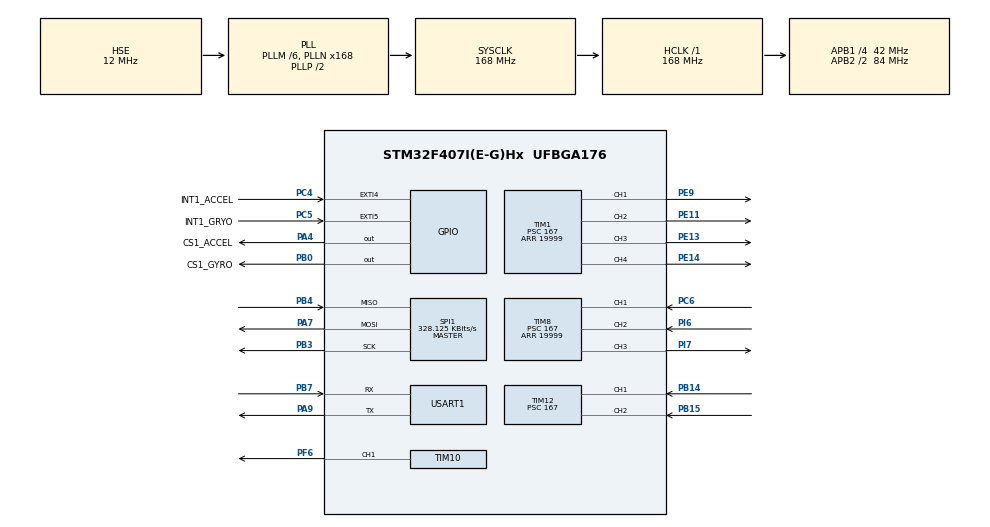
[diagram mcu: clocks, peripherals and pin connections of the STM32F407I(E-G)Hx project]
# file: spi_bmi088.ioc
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Dma.Request0=SPI1_RX
Dma.Request1=SPI1_TX
Dma.SPI1_RX.0.Direction=DMA_PERIPH_TO_MEMORY
Dma.SPI1_RX.0.FIFOMode=DMA_FIFOMODE_DISABLE
Dma.SPI1_RX.0.Instance=DMA2_Stream2
Dma.SPI1_RX.0.MemDataAlignment=DMA_MDATAALIGN_BYTE
Dma.SPI1_RX.0.MemInc=DMA_MINC_ENABLE
Dma.SPI1_RX.0.Mode=DMA_NORMAL
Dma.SPI1_RX.0.PeriphDataAlignment=DMA_PDATAALIGN_BYTE
Dma.SPI1_RX.0.PeriphInc=DMA_PINC_DISABLE
Dma.SPI1_RX.0.Priority=DMA_PRIORITY_VERY_HIGH
Dma.SPI1_TX.1.Direction=DMA_MEMORY_TO_PERIPH
Dma.SPI1_TX.1.FIFOMode=DMA_FIFOMODE_DISABLE
Dma.SPI1_TX.1.Instance=DMA2_Stream3
Dma.SPI1_TX.1.MemDataAlignment=DMA_MDATAALIGN_BYTE
Dma.SPI1_TX.1.MemInc=DMA_MINC_ENABLE
Dma.SPI1_TX.1.Mode=DMA_NORMAL
Dma.SPI1_TX.1.PeriphDataAlignment=DMA_PDATAALIGN_BYTE
Dma.SPI1_TX.1.PeriphInc=DMA_PINC_DISABLE
Dma.SPI1_TX.1.Priority=DMA_PRIORITY_HIGH
Mcu.Family=STM32F4
Mcu.Name=STM32F407I(E-G)Hx
Mcu.Package=UFBGA176
NVIC.DMA2_Stream2_IRQn=true\:5\:0\:true\:false\:false\:false\:true
NVIC.DMA2_Stream3_IRQn=true\:0\:0\:false\:false\:false\:false\:true
NVIC.EXTI4_IRQn=true\:0\:0\:false\:false\:true\:true\:true
NVIC.EXTI9_5_IRQn=true\:0\:0\:false\:false\:true\:true\:true
NVIC.PriorityGroup=NVIC_PRIORITYGROUP_4
NVIC.TIM1_BRK_TIM9_IRQn=true\:0\:0\:false\:false\:true\:true\:true
NVIC.TIM1_CC_IRQn=true\:0\:0\:false\:false\:true\:true\:true
NVIC.TIM1_TRG_COM_TIM11_IRQn=true\:0\:0\:false\:false\:true\:true\:true
NVIC.TIM1_UP_TIM10_IRQn=true\:0\:0\:false\:false\:true\:true\:true
NVIC.TIM8_BRK_TIM12_IRQn=true\:0\:0\:false\:false\:true\:true\:true
NVIC.TIM8_CC_IRQn=true\:0\:0\:false\:false\:true\:true\:true
NVIC.TIM8_TRG_COM_TIM14_IRQn=true\:0\:0\:false\:false\:true\:true\:true
NVIC.TIM8_UP_TIM13_IRQn=true\:0\:0\:false\:false\:true\:true\:true
NVIC.USART1_IRQn=true\:0\:0\:false\:false\:true\:true\:true
PA13.Mode=Serial_Wire
PA13.Signal=SYS_JTMS-SWDIO
PA14.Mode=Serial_Wire
PA14.Signal=SYS_JTCK-SWCLK
PA4.GPIO_Label=CS1_ACCEL
PA4.GPIO_PuPd=GPIO_PULLUP
PA4.GPIO_Speed=GPIO_SPEED_FREQ_HIGH
PA4.PinState=GPIO_PIN_SET
PA4.Signal=GPIO_Output
PA7.Mode=Full_Duplex_Master
PA7.Signal=SPI1_MOSI
PA9.Mode=Asynchronous
PA9.Signal=USART1_TX
PB0.GPIO_Label=CS1_GYRO
PB0.GPIO_PuPd=GPIO_PULLUP
PB0.GPIO_Speed=GPIO_SPEED_FREQ_HIGH
PB0.PinState=GPIO_PIN_SET
PB0.Signal=GPIO_Output
PB14.GPIO_PuPd=GPIO_PULLDOWN
PB14.Signal=S_TIM12_CH1
PB15.GPIO_PuPd=GPIO_PULLDOWN
PB15.Signal=S_TIM12_CH2
PB3.Mode=Full_Duplex_Master
PB3.Signal=SPI1_SCK
PB4.Mode=Full_Duplex_Master
PB4.Signal=SPI1_MISO
PB7.Mode=Asynchronous
PB7.Signal=USART1_RX
PC4.GPIO_Label=INT1_ACCEL
PC4.GPIO_ModeDefaultEXTI=GPIO_MODE_IT_FALLING
PC4.GPIO_PuPd=GPIO_PULLUP
PC4.Signal=GPXTI4
PC5.GPIO_Label=INT1_GRYO
PC5.GPIO_ModeDefaultEXTI=GPIO_MODE_IT_FALLING
PC5.GPIO_PuPd=GPIO_PULLUP
PC5.Signal=GPXTI5
PC6.GPIO_PuPd=GPIO_PULLDOWN
PC6.Signal=S_TIM8_CH1
PE11.Signal=S_TIM1_CH2
PE13.Signal=S_TIM1_CH3
PE14.Signal=S_TIM1_CH4
PE9.Signal=S_TIM1_CH1
PF6.GPIO_PuPd=GPIO_PULLUP
PF6.GPIO_Speed=GPIO_SPEED_FREQ_HIGH
PF6.Signal=S_TIM10_CH1
PH0-OSC_IN.Mode=HSE-External-Oscillator
PH0-OSC_IN.Signal=RCC_OSC_IN
PH1-OSC_OUT.Mode=HSE-External-Oscillator
PH1-OSC_OUT.Signal=RCC_OSC_OUT
PI6.GPIO_PuPd=GPIO_PULLDOWN
PI6.Signal=S_TIM8_CH2
PI7.GPIO_PuPd=GPIO_PULLDOWN
PI7.Signal=S_TIM8_CH3
ProjectManager.HeapSize=0x2000
ProjectManager.StackSize=0x2000
ProjectManager.TargetToolchain=MDK-ARM V5
RCC.48MHZClocksFreq_Value=48000000
RCC.AHBFreq_Value=168000000
RCC.APB1CLKDivider=RCC_HCLK_DIV4
RCC.APB1Freq_Value=42000000
RCC.APB1TimFreq_Value=84000000
RCC.APB2CLKDivider=RCC_HCLK_DIV2
RCC.APB2Freq_Value=84000000
RCC.APB2TimFreq_Value=168000000
RCC.CortexFreq_Value=168000000
RCC.HCLKFreq_Value=168000000
RCC.HSE_VALUE=12000000
RCC.HSI_VALUE=16000000
RCC.LSE_VALUE=32768
RCC.PLLM=6
RCC.PLLN=168
RCC.PLLQ=7
RCC.PLLSourceVirtual=RCC_PLLSOURCE_HSE
RCC.RCC_RTC_Clock_SourceVirtual=RCC_RTCCLKSOURCE_HSE_DIV30
RCC.RCC_RTC_Clock_Source_FROM_HSE=RCC_RTCCLKSOURCE_HSE_DIV30
RCC.SYSCLKFreq_VALUE=168000000
RCC.SYSCLKSource=RCC_SYSCLKSOURCE_PLLCLK
RCC.VCOOutputFreq_Value=336000000
SH.S_TIM10_CH1.0=TIM10_CH1,PWM Generation1 CH1
SH.S_TIM12_CH1.0=TIM12_CH1,Input_Capture1_from_TI1
SH.S_TIM12_CH2.0=TIM12_CH2,Input_Capture2_from_TI2
SH.S_TIM1_CH1.0=TIM1_CH1,PWM Generation1 CH1
SH.S_TIM1_CH2.0=TIM1_CH2,PWM Generation2 CH2
SH.S_TIM1_CH3.0=TIM1_CH3,PWM Generation3 CH3
SH.S_TIM1_CH4.0=TIM1_CH4,PWM Generation4 CH4
SH.S_TIM8_CH1.0=TIM8_CH1,Input_Capture1_from_TI1
SH.S_TIM8_CH2.0=TIM8_CH2,Input_Capture2_from_TI2
SH.S_TIM8_CH3.0=TIM8_CH3,PWM Generation3 CH3
SPI1.BaudRatePrescaler=SPI_BAUDRATEPRESCALER_256
SPI1.CLKPhase=SPI_PHASE_2EDGE
SPI1.CLKPolarity=SPI_POLARITY_HIGH
SPI1.CalculateBaudRate=328.125 KBits/s
SPI1.Direction=SPI_DIRECTION_2LINES
SPI1.Mode=SPI_MODE_MASTER
SPI1.VirtualType=VM_MASTER
TIM1.Channel-PWM\ Generation1\ CH1=TIM_CHANNEL_1
TIM1.Channel-PWM\ Generation2\ CH2=TIM_CHANNEL_2
TIM1.Channel-PWM\ Generation3\ CH3=TIM_CHANNEL_3
TIM1.Channel-PWM\ Generation4\ CH4=TIM_CHANNEL_4
TIM1.Period=19999
TIM1.Prescaler=167
TIM1.Pulse-PWM\ Generation1\ CH1=2000
TIM1.Pulse-PWM\ Generation2\ CH2=2000
TIM1.Pulse-PWM\ Generation3\ CH3=2000
TIM1.Pulse-PWM\ Generation4\ CH4=2000
TIM10.Channel=TIM_CHANNEL_1
TIM10.Period=4999
TIM12.AutoReloadPreload=TIM_AUTORELOAD_PRELOAD_ENABLE
TIM12.Channel-Input_Capture1_from_TI1=TIM_CHANNEL_1
TIM12.Channel-Input_Capture2_from_TI2=TIM_CHANNEL_2
TIM12.ICFilter_CH1=8
TIM12.ICFilter_CH2=8
TIM12.Period=19999
TIM12.Prescaler=167
TIM8.AutoReloadPreload=TIM_AUTORELOAD_PRELOAD_ENABLE
TIM8.Channel-Input_Capture1_from_TI1=TIM_CHANNEL_1
TIM8.Channel-Input_Capture2_from_TI2=TIM_CHANNEL_2
TIM8.Channel-PWM\ Generation3\ CH3=TIM_CHANNEL_3
TIM8.ICFilter_CH1=8
TIM8.ICFilter_CH2=8
TIM8.Period=19999
TIM8.Prescaler=167
TIM8.Pulse-PWM\ Generation3\ CH3=2000
TIM8.RepetitionCounter=8
USART1.VirtualMode=VM_ASYNC
VP_TIM10_VS_ClockSourceINT.Mode=Enable_Timer
VP_TIM1_VS_ClockSourceINT.Mode=Internal
VP_TIM8_VS_ClockSourceINT.Mode=Internal
board=custom

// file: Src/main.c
/* USER CODE BEGIN Header */
/**
  ******************************************************************************
  * @file           : main.c
  * @brief          : Main program body
  ******************************************************************************
  * @attention
  *
  * <h2><center>&copy; Copyright (c) 2019 STMicroelectronics.
  * All rights reserved.</center></h2>
  *
  * This software component is licensed by ST under Ultimate Liberty license
  * SLA0044, the "License"; You may not use this file except in compliance with
  * the License. You may obtain a copy of the License at:
  *                             www.st.com/SLA0044
  *
  ******************************************************************************
  */
/* USER CODE END Header */

#include "main.h"
#include "dma.h"
#include "spi.h"
#include "tim.h"
#include "usart.h"
#include "gpio.h"

/* USER CODE BEGIN Includes */
#include "BMI088driver.h"
#include "control_get.h"
#include "Get_Angle.h"
/* USER CODE END Includes */

void SystemClock_Config(void);
/* USER CODE BEGIN PFP */
/* Private user code ---------------------------------------------------------*/

/* USER CODE BEGIN PFP */
/* USER CODE BEGIN 0 */
//uint8_t NumberCount = 0;
//uint8_t ReceiveResult = 0;
//uint8_t receive_loop = 0;

//uint8_t high[4];//调试使用
//uint32_t capture_Buf[2] = {0,0}; //left_right
//uint32_t capture_buf[2] = {0,0};//back_front
//uint32_t capture_Buf_12[2] = {0,0}; //channal_5
//uint32_t capture_buf_12[2] = {0,0};//channal_6
uint8_t capture_Cnt_8[2] = {0,0};
uint8_t capture_Cnt_12[2] = {0,0};
fp32 gyro[3], accel[3], temp, Euler_Angles[3];
float q[4] ;
//uint32_t high_time_left_right;
//uint32_t high_time_back_front;
//uint32_t high_time_chanal_5;
//uint32_t high_time_channal_6;
//uint16_t left_right[2] = {0, 2000};
//uint16_t back_front[2] = {0, 2000};
//uint16_t back_front_PWM = 0;
//uint16_t left_right_pwm = 0;
//uint8_t channal_state_5 = 0;
//uint8_t channal_state_6 = 0;
//

//void USART1_IRQHandler(void)
//{
//    volatile uint8_t receive;
//    //receive interrupt 接收中断
//    if(huart1.Instance->SR & UART_FLAG_RXNE)
//    {
//        receive = huart1.Instance->DR;
//			  if(receive == 'b'){
//					NumberCount = 0;
//					ReceiveResult = 0;
//					receive_loop = 0;
//				}
//				else if(receive == 'e'){
//					receive_loop = 1;
//					/*
//					change the struct data code
//					*/
//				}
//				else{
//					int add_number = receive - '0';
//					int j = 1;
//					int weight = 1;
//					NumberCount ++ ;
//					for( j = 1; j < NumberCount; j ++){
//						weight = weight * 10;
//
//					ReceiveResult += weight * add_number;
//
//				}
//    }
//
//    //idle interrupt 空闲中断
//    else if(huart1.Instance->SR & UART_FLAG_IDLE)
//    {
//        receive = huart1.Instance->DR;
//       // HAL_GPIO_WritePin(LED_R_GPIO_Port, LED_R_Pin, GPIO_PIN_RESET);
//    }

//}

/* USER CODE END 0 */
/* USER CODE END PFP */

int main(void)
{

  /* MCU Configuration--------------------------------------------------------*/

  /* Reset of all peripherals, Initializes the Flash interface and the Systick. */
  HAL_Init();

  /* Configure the system clock */
  SystemClock_Config();

  /* Initialize all configured peripherals */
  MX_GPIO_Init();
  MX_DMA_Init();
  MX_SPI1_Init();
  MX_TIM10_Init();
  MX_TIM1_Init();
  MX_TIM8_Init();
  MX_TIM12_Init();
  MX_USART1_UART_Init();
  /* USER CODE BEGIN 2 */
	 /* USER CODE BEGIN 2 */
    HAL_TIM_Base_Start(&htim8);
    HAL_TIM_PWM_Start(&htim8, TIM_CHANNEL_3);
		HAL_TIM_Base_Start(&htim1);
    HAL_TIM_PWM_Start(&htim1, TIM_CHANNEL_1);
    HAL_TIM_PWM_Start(&htim1, TIM_CHANNEL_2);
    HAL_TIM_PWM_Start(&htim1, TIM_CHANNEL_3);
    HAL_TIM_PWM_Start(&htim1, TIM_CHANNEL_4);

//    HAL_GPIO_WritePin(LED_R_GPIO_Port, LED_R_Pin, GPIO_PIN_RESET);
//    HAL_GPIO_WritePin(LED_G_GPIO_Port, LED_G_Pin, GPIO_PIN_RESET);
//    HAL_GPIO_WritePin(LED_B_GPIO_Port, LED_B_Pin, GPIO_PIN_RESET);
    //enable receive interrupt and idle interrupt
    //使能接收中断和空闲中断
    __HAL_UART_ENABLE_IT(&huart1, UART_IT_RXNE);  //receive interrupt
    __HAL_UART_ENABLE_IT(&huart1, UART_IT_IDLE);  //idle interrupt

  /* USER CODE END 2 */

  /* Infinite loop */
  /* USER CODE BEGIN WHILE */
	  //get begin,open the rasing take;开始检测上升沿
	  __HAL_TIM_SET_CAPTUREPOLARITY(&htim8, TIM_CHANNEL_1, TIM_INPUTCHANNELPOLARITY_RISING);
		HAL_TIM_IC_Start_IT(&htim8, TIM_CHANNEL_1);
		__HAL_TIM_SET_CAPTUREPOLARITY(&htim8, TIM_CHANNEL_2, TIM_INPUTCHANNELPOLARITY_RISING);
		HAL_TIM_IC_Start_IT(&htim8, TIM_CHANNEL_2);
		__HAL_TIM_SET_CAPTUREPOLARITY(&htim12, TIM_CHANNEL_1, TIM_INPUTCHANNELPOLARITY_RISING);
		HAL_TIM_IC_Start_IT(&htim12, TIM_CHANNEL_1);
		__HAL_TIM_SET_CAPTUREPOLARITY(&htim12, TIM_CHANNEL_2, TIM_INPUTCHANNELPOLARITY_RISING);
		HAL_TIM_IC_Start_IT(&htim12, TIM_CHANNEL_2);
		capture_Cnt_8[0] = 1;
		capture_Cnt_8[1] = 1;
		capture_Cnt_12[0] = 1;
		capture_Cnt_12[1] = 1;

    while(BMI088_init())
    {
        ;
    }
  /* USER CODE END 2 */

  /* Infinite loop */
  /* USER CODE BEGIN WHILE */
  while (1)
  {
    /* USER CODE END WHILE */

    /* USER CODE BEGIN 3 */
				BMI088_read(gyro, accel, &temp);
		    MahonyAHRSupdateIMU(gyro[0], gyro[1], gyro[2], accel[0], accel[1], accel[2]);
        HAL_Delay(10);
  }
  /* USER CODE END 3 */
}

void SystemClock_Config(void)
{
  RCC_OscInitTypeDef RCC_OscInitStruct = {0};
  RCC_ClkInitTypeDef RCC_ClkInitStruct = {0};

  /** Configure the main internal regulator output voltage
  */
  __HAL_RCC_PWR_CLK_ENABLE();
  __HAL_PWR_VOLTAGESCALING_CONFIG(PWR_REGULATOR_VOLTAGE_SCALE1);
  /** Initializes the CPU, AHB and APB busses clocks
  */
  RCC_OscInitStruct.OscillatorType = RCC_OSCILLATORTYPE_HSE;
  RCC_OscInitStruct.HSEState = RCC_HSE_ON;
  RCC_OscInitStruct.PLL.PLLState = RCC_PLL_ON;
  RCC_OscInitStruct.PLL.PLLSource = RCC_PLLSOURCE_HSE;
  RCC_OscInitStruct.PLL.PLLM = 6;
  RCC_OscInitStruct.PLL.PLLN = 168;
  RCC_OscInitStruct.PLL.PLLP = RCC_PLLP_DIV2;
  RCC_OscInitStruct.PLL.PLLQ = 7;
  if (HAL_RCC_OscConfig(&RCC_OscInitStruct) != HAL_OK)
  {
    Error_Handler();
  }
  /** Initializes the CPU, AHB and APB busses clocks
  */
  RCC_ClkInitStruct.ClockType = RCC_CLOCKTYPE_HCLK|RCC_CLOCKTYPE_SYSCLK
                              |RCC_CLOCKTYPE_PCLK1|RCC_CLOCKTYPE_PCLK2;
  RCC_ClkInitStruct.SYSCLKSource = RCC_SYSCLKSOURCE_PLLCLK;
  RCC_ClkInitStruct.AHBCLKDivider = RCC_SYSCLK_DIV1;
  RCC_ClkInitStruct.APB1CLKDivider = RCC_HCLK_DIV4;
  RCC_ClkInitStruct.APB2CLKDivider = RCC_HCLK_DIV2;

  if (HAL_RCC_ClockConfig(&RCC_ClkInitStruct, FLASH_LATENCY_5) != HAL_OK)
  {
    Error_Handler();
  }
}

void Error_Handler(void)
{
}

/************************ (C) COPYRIGHT STMicroelectronics *****END OF FILE****/
